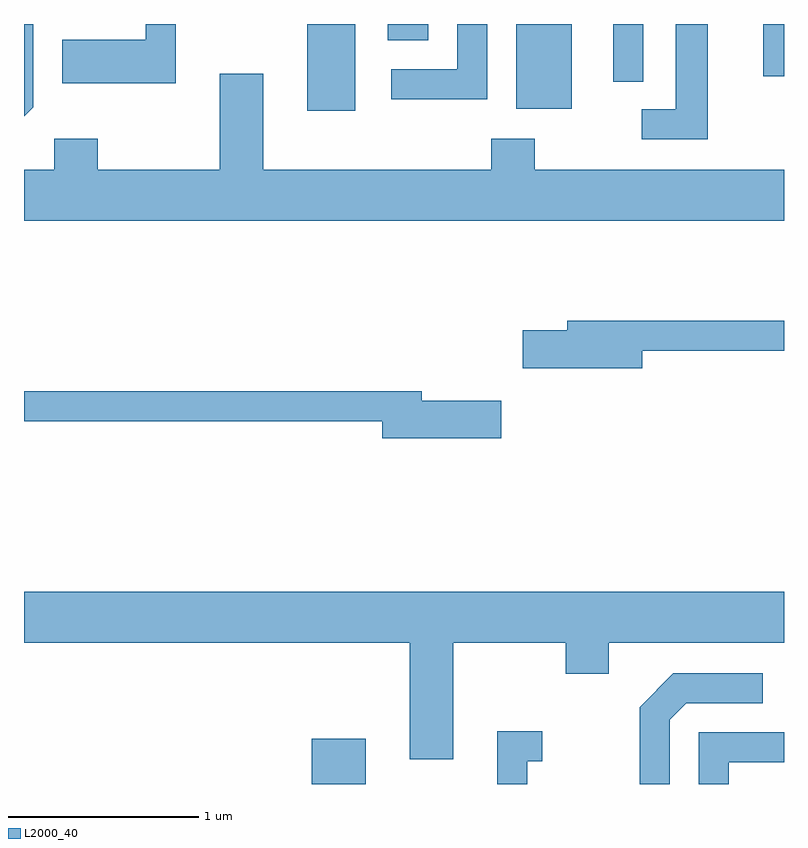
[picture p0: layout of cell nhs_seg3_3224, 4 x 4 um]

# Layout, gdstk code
import gdstk
lib = gdstk.Library(unit=1e-6, precision=1e-09)
def R(c, l, rs):  # rectangles x0, y0, x1, y1
    for r in rs: c.add(gdstk.rectangle(r[:2], r[2:], *l))
def P(c, l, *ps):  # polygons
    for p in ps: c.add(gdstk.Polygon(p, *l))
L2000_40 = (2000, 40)

nhs_seg3_3224 = lib.new_cell('nhs_seg3_3224')
R(nhs_seg3_3224, L2000_40, [(281.126,1171.892,281.409,1172.129), (281.101,1175.436,281.354,1175.892), (282.201,1175.446,282.494,1175.892), (282.711,1175.588,282.869,1175.892), (283.501,1175.616,283.611,1175.892), (281.526,1175.806,281.739,1175.892)])
P(nhs_seg3_3224, L2000_40, [(279.659,1175.454),(279.659,1175.892),(279.611,1175.892),(279.611,1175.406)],
  [(282.049,1175.892),(281.891,1175.892),(281.891,1175.654),(281.543,1175.654),(281.543,1175.496),(282.049,1175.496)],
  [(280.409,1175.892),(280.251,1175.892),(280.251,1175.809),(279.811,1175.809),(279.811,1175.581),(280.409,1175.581)],
  [(283.209,1175.892),(283.041,1175.892),(283.041,1175.444),(282.863,1175.444),(282.863,1175.286),(283.209,1175.286)],
  [(283.611,1175.124),(282.299,1175.124),(282.299,1175.289),(282.071,1175.289),(282.071,1175.124),(280.869,1175.124),(280.869,1175.629),(280.641,1175.629),(280.641,1175.124),(279.999,1175.124),(279.999,1175.289),(279.771,1175.289),(279.771,1175.124),(279.611,1175.124),(279.611,1174.856),(283.611,1174.856)],
  [(282.864,1174.171),(283.611,1174.171),(283.611,1174.329),(282.471,1174.329),(282.471,1174.279),(282.236,1174.279),(282.236,1174.081),(282.864,1174.081)],
  [(282.124,1173.909),(281.704,1173.909),(281.704,1173.959),(279.611,1173.959),(279.611,1173.801),(281.496,1173.801),(281.496,1173.711),(282.124,1173.711)],
  [(281.869,1172.636),(282.461,1172.636),(282.461,1172.471),(282.689,1172.471),(282.689,1172.636),(283.611,1172.636),(283.611,1172.904),(279.611,1172.904),(279.611,1172.636),(281.641,1172.636),(281.641,1172.021),(281.869,1172.021)],
  [(283.009,1172.229),(283.097,1172.316),(283.498,1172.316),(283.498,1172.474),(283.029,1172.474),(282.851,1172.297),(282.851,1171.892),(283.009,1171.892)],
  [(282.259,1172.011),(282.338,1172.011),(282.338,1172.169),(282.101,1172.169),(282.101,1171.892),(282.259,1171.892)],
  [(283.319,1172.006),(283.611,1172.006),(283.611,1172.164),(283.161,1172.164),(283.161,1171.892),(283.319,1171.892)])

lib.write_gds('nhs_seg3_3224.gds')
